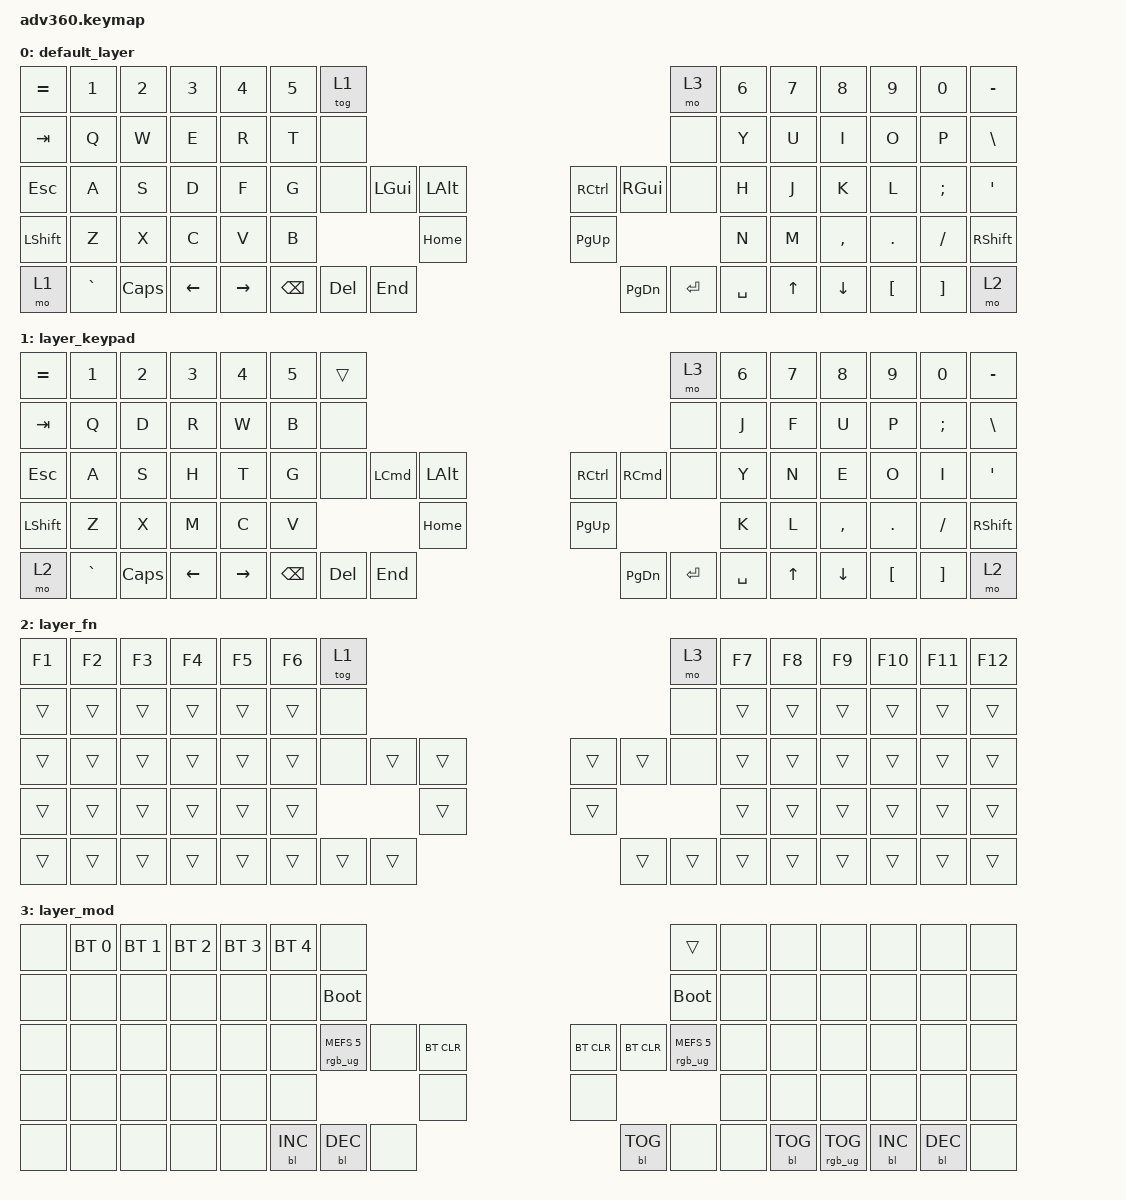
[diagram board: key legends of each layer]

/*
 * Copyright (c) 2020 The ZMK Contributors
 *
 * SPDX-License-Identifier: MIT
 */


/* THIS FILE WAS GENERATED!
 *
 * This file was generated automatically. You may or may not want to
 * edit it directly.
 */

#include <behaviors.dtsi>
#include <dt-bindings/zmk/keys.h>
#include <dt-bindings/zmk/bt.h>
#include <dt-bindings/zmk/rgb.h>
#include <dt-bindings/zmk/backlight.h>

/ {
  behaviors {
    #include "macros.dtsi"

    hm: homerow_mods {
        compatible = "zmk,behavior-hold-tap";
        label = "HOMEROW_MODS";
        #binding-cells = <2>;
        tapping-term-ms = <200>;
        quick_tap_ms = <175>;
        flavor = "tap-preferred";
        bindings = <&kp>, <&kp>;
    };
  };

    keymap {
        compatible = "zmk,keymap";


        default_layer {
            bindings = <
 &kp EQUAL     &kp N1    &kp N2    &kp N3     &kp N4  &kp N5              &tog 1                                                                        &mo 3  &kp N6  &kp N7     &kp N8    &kp N9    &kp N0  &kp MINUS
   &kp TAB      &kp Q     &kp W     &kp E      &kp R   &kp T               &none                                                                        &none   &kp Y   &kp U      &kp I     &kp O     &kp P   &kp BSLH
   &kp ESC      &kp A     &kp S     &kp D      &kp F   &kp G               &none  &kp LGUI  &kp LALT                  &kp RIGHT_CONTROL   &kp RGUI      &none   &kp H   &kp J      &kp K     &kp L  &kp SEMI    &kp SQT
 &kp LSHFT      &kp Z     &kp X     &kp C      &kp V   &kp B                                &kp HOME                          &kp PG_UP                         &kp N   &kp M  &kp COMMA   &kp DOT  &kp FSLH  &kp RSHFT
     &mo 1  &kp GRAVE  &kp CAPS  &kp LEFT  &kp RIGHT                    &kp BSPC   &kp DEL   &kp END                          &kp PG_DN  &kp ENTER  &kp SPACE          &kp UP   &kp DOWN  &kp LBKT  &kp RBKT      &mo 2
            >;
        };

        layer_keypad {
            bindings = <
 &kp EQUAL     &kp N1    &kp N2    &kp N3     &kp N4  &kp N5              &trans                                                                                        &mo 3  &kp N6  &kp N7     &kp N8    &kp N9    &kp N0  &kp MINUS
   &kp TAB      &kp Q     &kp D     &kp R      &kp W   &kp B               &none                                                                                        &none   &kp J   &kp F      &kp U     &kp P  &kp SEMI   &kp BSLH
   &kp ESC      &kp A     &kp S     &kp H      &kp T   &kp G               &none  &kp LEFT_COMMAND  &kp LALT                  &kp RIGHT_CONTROL  &kp RIGHT_COMMAND      &none   &kp Y   &kp N      &kp E     &kp O     &kp I    &kp SQT
 &kp LSHFT      &kp Z     &kp X     &kp M      &kp C   &kp V                                        &kp HOME                          &kp PG_UP                                 &kp K   &kp L  &kp COMMA   &kp DOT  &kp FSLH  &kp RSHFT
     &mo 2  &kp GRAVE  &kp CAPS  &kp LEFT  &kp RIGHT                    &kp BSPC           &kp DEL   &kp END                          &kp PG_DN          &kp ENTER  &kp SPACE          &kp UP   &kp DOWN  &kp LBKT  &kp RBKT      &mo 2
            >;
        };

        layer_fn {
            bindings = <
 &kp F1  &kp F2  &kp F3  &kp F4  &kp F5  &kp F6            &tog 1                                                   &mo 3  &kp F7  &kp F8  &kp F9  &kp F10  &kp F11  &kp F12
 &trans  &trans  &trans  &trans  &trans  &trans             &none                                                   &none  &trans  &trans  &trans   &trans   &trans   &trans
 &trans  &trans  &trans  &trans  &trans  &trans             &none  &trans  &trans                  &trans  &trans   &none  &trans  &trans  &trans   &trans   &trans   &trans
 &trans  &trans  &trans  &trans  &trans  &trans                            &trans                  &trans                  &trans  &trans  &trans   &trans   &trans   &trans
 &trans  &trans  &trans  &trans  &trans                    &trans  &trans  &trans                  &trans  &trans  &trans          &trans  &trans   &trans   &trans   &trans
            >;
        };

        layer_mod {
            bindings = <
  &none  &bt BT_SEL 0  &bt BT_SEL 1  &bt BT_SEL 2  &bt BT_SEL 3  &bt BT_SEL 4                             &none                                                                                  &trans   &none       &none            &none       &none       &none   &none
  &none         &none         &none         &none         &none         &none                       &bootloader                                                                             &bootloader   &none       &none            &none       &none       &none   &none
  &none         &none         &none         &none         &none         &none            &rgb_ug RGB_MEFS_CMD 5       &none  &bt BT_CLR                  &bt BT_CLR  &bt BT_CLR  &rgb_ug RGB_MEFS_CMD 5   &none       &none            &none       &none       &none   &none
  &none         &none         &none         &none         &none         &none                                                     &none                       &none                                       &none       &none            &none       &none       &none   &none
  &none         &none         &none         &none         &none                                      &bl BL_INC  &bl BL_DEC       &none                  &bl BL_TOG       &none                   &none          &bl BL_TOG  &rgb_ug RGB_TOG  &bl BL_INC  &bl BL_DEC   &none
            >;
        };

    };
};
